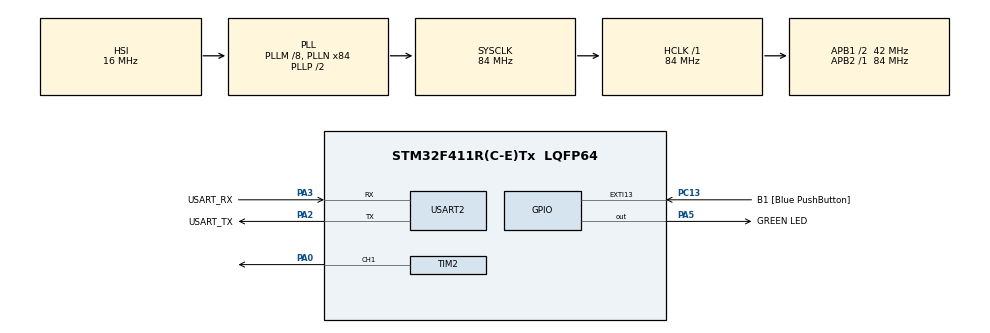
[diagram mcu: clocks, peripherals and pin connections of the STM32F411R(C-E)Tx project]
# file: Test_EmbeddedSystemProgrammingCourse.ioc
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Mcu.Family=STM32F4
Mcu.Name=STM32F411R(C-E)Tx
Mcu.Package=LQFP64
NVIC.PriorityGroup=NVIC_PRIORITYGROUP_0
PA0-WKUP.Signal=S_TIM2_CH1_ETR
PA13.GPIO_Label=TMS
PA13.Mode=Serial_Wire
PA13.Signal=SYS_JTMS-SWDIO
PA14.GPIO_Label=TCK
PA14.Mode=Serial_Wire
PA14.Signal=SYS_JTCK-SWCLK
PA2.GPIO_Label=USART_TX
PA2.Mode=Asynchronous
PA2.Signal=USART2_TX
PA3.GPIO_Label=USART_RX
PA3.Mode=Asynchronous
PA3.Signal=USART2_RX
PA5.GPIO_Label=GREEN LED
PA5.Signal=GPIO_Output
PB3.GPIO_Label=SWO
PB3.Signal=SYS_JTDO-SWO
PC13-ANTI_TAMP.GPIO_Label=B1 [Blue PushButton]
PC13-ANTI_TAMP.GPIO_ModeDefaultEXTI=GPIO_MODE_IT_FALLING
PC13-ANTI_TAMP.Signal=GPXTI13
PC14-OSC32_IN.Mode=LSE-External-Oscillator
PC14-OSC32_IN.Signal=RCC_OSC32_IN
PC15-OSC32_OUT.Mode=LSE-External-Oscillator
PC15-OSC32_OUT.Signal=RCC_OSC32_OUT
PH0\ -\ OSC_IN.Mode=HSE-External-Clock-Source
PH0\ -\ OSC_IN.Signal=RCC_OSC_IN
PH1\ -\ OSC_OUT.Mode=HSE-External-Clock-Source
PH1\ -\ OSC_OUT.Signal=RCC_OSC_OUT
ProjectManager.HeapSize=0x200
ProjectManager.StackSize=0x400
ProjectManager.TargetToolchain=STM32CubeIDE
RCC.48MHZClocksFreq_Value=42000000
RCC.AHBFreq_Value=84000000
RCC.APB1CLKDivider=RCC_HCLK_DIV2
RCC.APB1Freq_Value=42000000
RCC.APB1TimFreq_Value=84000000
RCC.APB2Freq_Value=84000000
RCC.APB2TimFreq_Value=84000000
RCC.CortexFreq_Value=84000000
RCC.FLatency-AdvancedSettings=FLASH_LATENCY_2
RCC.HCLKFreq_Value=84000000
RCC.HSE_VALUE=8000000
RCC.HSI_VALUE=16000000
RCC.PLLM=8
RCC.PLLN=84
RCC.SYSCLKFreq_VALUE=84000000
RCC.SYSCLKSource=RCC_SYSCLKSOURCE_PLLCLK
RCC.VCOOutputFreq_Value=168000000
SH.S_TIM2_CH1_ETR.0=TIM2_CH1,PWM Generation1 CH1
TIM1.Channel-Output\ Compare1\ No\ Output=TIM_CHANNEL_1
TIM1.ClockDivision=TIM_CLOCKDIVISION_DIV1
TIM1.Period=10000
TIM1.Prescaler=60000
TIM1.Pulse-Output\ Compare1\ No\ Output=5000
TIM1.TIM_MasterOutputTrigger=TIM_TRGO_RESET
TIM2.Channel-PWM\ Generation1\ CH1=TIM_CHANNEL_1
USART2.VirtualMode=VM_ASYNC
USART2.WordLength=WORDLENGTH_8B
VP_TIM1_VS_ClockSourceINT.Mode=Internal
VP_TIM1_VS_no_output1.Mode=Output Compare1 No Output
VP_TIM2_VS_ClockSourceINT.Mode=Internal
board=NUCLEO-F411RE

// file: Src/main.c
/* USER CODE BEGIN Header */
/**
  ******************************************************************************
  * @file           : main.c
  * @brief          : Main program body
  ******************************************************************************
  * @attention
  *
  * <h2><center>&copy; Copyright (c) 2019 STMicroelectronics.
  * All rights reserved.</center></h2>
  *
  * This software component is licensed by ST under BSD 3-Clause license,
  * the "License"; You may not use this file except in compliance with the
  * License. You may obtain a copy of the License at:
  *                        opensource.org/licenses/BSD-3-Clause
  *
  ******************************************************************************
  */
/* USER CODE END Header */

#include "main.h"

TIM_HandleTypeDef htim1;
TIM_HandleTypeDef htim2;

UART_HandleTypeDef huart2;

uint8_t OffsetPWM = 90;

void SystemClock_Config(void);
static void MX_GPIO_Init(void);
static void MX_USART2_UART_Init(void);
static void MX_TIM1_Init(void);
static void MX_TIM2_Init(void);

int main(void)
{
  /* USER CODE BEGIN 1 */
	GPIO_PinState buttonPressed=0;

  /* USER CODE END 1 */

  /* MCU Configuration--------------------------------------------------------*/

  /* Reset of all peripherals, Initializes the Flash interface and the Systick. */
  HAL_Init();

  /* Configure the system clock */
  SystemClock_Config();

  /* Initialize all configured peripherals */
  MX_GPIO_Init();
  MX_USART2_UART_Init();
  MX_TIM1_Init();
  MX_TIM2_Init();
  /* USER CODE BEGIN 2 */
  HAL_StatusTypeDef Timer;
  uint8_t pData = 0xFF;
  uint32_t counter = 0;
  /* USER CODE END 2 */

  /* Infinite loop */
  while (1)
  {

    /* USER CODE BEGIN 3 */
	  TIM2->CCR1 = 1500 + OffsetPWM;
	  buttonPressed =  HAL_GPIO_ReadPin(B1_GPIO_Port, B1_Pin);
	  if (buttonPressed == GPIO_PIN_RESET) {
		  Timer = HAL_TIM_OC_Start (&htim1, TIM_CHANNEL_1);
		  HAL_UART_Transmit(&huart2, &pData, 1, 0);
		  HAL_GPIO_WritePin(GREEN_LED_GPIO_Port, GREEN_LED_Pin, GPIO_PIN_SET);
		  HAL_TIM_PWM_Start(&htim2,TIM_CHANNEL_1);
		  counter = 300000;
	  }
	  else
	  {	  TIM2->CCR1 = 1500 + OffsetPWM;
	  counter = 0 ;
	  }

	  while(counter != 0){
	     TIM2->CCR1 = 2000 + OffsetPWM;
	     counter--;
	  }

	  //if (Timer == HAL_TIMEOUT){
	  if (htim1.Instance->CNT == htim1.Instance->CCR1 ){
		  HAL_GPIO_WritePin(GREEN_LED_GPIO_Port, GREEN_LED_Pin,GPIO_PIN_RESET);
	  }
  }
  /* USER CODE END 3 */
}

void SystemClock_Config(void)
{
  RCC_OscInitTypeDef RCC_OscInitStruct = {0};
  RCC_ClkInitTypeDef RCC_ClkInitStruct = {0};

  /** Configure the main internal regulator output voltage
  */
  __HAL_RCC_PWR_CLK_ENABLE();
  __HAL_PWR_VOLTAGESCALING_CONFIG(PWR_REGULATOR_VOLTAGE_SCALE1);
  /** Initializes the CPU, AHB and APB busses clocks
  */
  RCC_OscInitStruct.OscillatorType = RCC_OSCILLATORTYPE_HSI;
  RCC_OscInitStruct.HSIState = RCC_HSI_ON;
  RCC_OscInitStruct.HSICalibrationValue = RCC_HSICALIBRATION_DEFAULT;
  RCC_OscInitStruct.PLL.PLLState = RCC_PLL_ON;
  RCC_OscInitStruct.PLL.PLLSource = RCC_PLLSOURCE_HSI;
  RCC_OscInitStruct.PLL.PLLM = 8;
  RCC_OscInitStruct.PLL.PLLN = 84;
  RCC_OscInitStruct.PLL.PLLP = RCC_PLLP_DIV2;
  RCC_OscInitStruct.PLL.PLLQ = 4;
  if (HAL_RCC_OscConfig(&RCC_OscInitStruct) != HAL_OK)
  {
    Error_Handler();
  }
  /** Initializes the CPU, AHB and APB busses clocks
  */
  RCC_ClkInitStruct.ClockType = RCC_CLOCKTYPE_HCLK|RCC_CLOCKTYPE_SYSCLK
                              |RCC_CLOCKTYPE_PCLK1|RCC_CLOCKTYPE_PCLK2;
  RCC_ClkInitStruct.SYSCLKSource = RCC_SYSCLKSOURCE_PLLCLK;
  RCC_ClkInitStruct.AHBCLKDivider = RCC_SYSCLK_DIV1;
  RCC_ClkInitStruct.APB1CLKDivider = RCC_HCLK_DIV2;
  RCC_ClkInitStruct.APB2CLKDivider = RCC_HCLK_DIV1;

  if (HAL_RCC_ClockConfig(&RCC_ClkInitStruct, FLASH_LATENCY_2) != HAL_OK)
  {
    Error_Handler();
  }
}

static void MX_TIM1_Init(void)
{

  TIM_ClockConfigTypeDef sClockSourceConfig = {0};
  TIM_MasterConfigTypeDef sMasterConfig = {0};
  TIM_OC_InitTypeDef sConfigOC = {0};
  TIM_BreakDeadTimeConfigTypeDef sBreakDeadTimeConfig = {0};

  htim1.Instance = TIM1;
  htim1.Init.Prescaler = 60000;
  htim1.Init.CounterMode = TIM_COUNTERMODE_UP;
  htim1.Init.Period = 10000;
  htim1.Init.ClockDivision = TIM_CLOCKDIVISION_DIV1;
  htim1.Init.RepetitionCounter = 0;
  htim1.Init.AutoReloadPreload = TIM_AUTORELOAD_PRELOAD_DISABLE;
  if (HAL_TIM_Base_Init(&htim1) != HAL_OK)
  {
    Error_Handler();
  }
  sClockSourceConfig.ClockSource = TIM_CLOCKSOURCE_INTERNAL;
  if (HAL_TIM_ConfigClockSource(&htim1, &sClockSourceConfig) != HAL_OK)
  {
    Error_Handler();
  }
  if (HAL_TIM_OC_Init(&htim1) != HAL_OK)
  {
    Error_Handler();
  }
  sMasterConfig.MasterOutputTrigger = TIM_TRGO_RESET;
  sMasterConfig.MasterSlaveMode = TIM_MASTERSLAVEMODE_DISABLE;
  if (HAL_TIMEx_MasterConfigSynchronization(&htim1, &sMasterConfig) != HAL_OK)
  {
    Error_Handler();
  }
  sConfigOC.OCMode = TIM_OCMODE_TIMING;
  sConfigOC.Pulse = 5000;
  sConfigOC.OCPolarity = TIM_OCPOLARITY_HIGH;
  sConfigOC.OCNPolarity = TIM_OCNPOLARITY_HIGH;
  sConfigOC.OCFastMode = TIM_OCFAST_DISABLE;
  sConfigOC.OCIdleState = TIM_OCIDLESTATE_RESET;
  sConfigOC.OCNIdleState = TIM_OCNIDLESTATE_RESET;
  if (HAL_TIM_OC_ConfigChannel(&htim1, &sConfigOC, TIM_CHANNEL_1) != HAL_OK)
  {
    Error_Handler();
  }
  sBreakDeadTimeConfig.OffStateRunMode = TIM_OSSR_DISABLE;
  sBreakDeadTimeConfig.OffStateIDLEMode = TIM_OSSI_DISABLE;
  sBreakDeadTimeConfig.LockLevel = TIM_LOCKLEVEL_OFF;
  sBreakDeadTimeConfig.DeadTime = 0;
  sBreakDeadTimeConfig.BreakState = TIM_BREAK_DISABLE;
  sBreakDeadTimeConfig.BreakPolarity = TIM_BREAKPOLARITY_HIGH;
  sBreakDeadTimeConfig.AutomaticOutput = TIM_AUTOMATICOUTPUT_DISABLE;
  if (HAL_TIMEx_ConfigBreakDeadTime(&htim1, &sBreakDeadTimeConfig) != HAL_OK)
  {
    Error_Handler();
  }

}

static void MX_TIM2_Init(void)
{

  TIM_ClockConfigTypeDef sClockSourceConfig = {0};
  TIM_MasterConfigTypeDef sMasterConfig = {0};
  TIM_OC_InitTypeDef sConfigOC = {0};

  htim2.Instance = TIM2;
  htim2.Init.Prescaler = 83; //1
  htim2.Init.CounterMode = TIM_COUNTERMODE_UP;
  htim2.Init.Period = 20000; //840000
  htim2.Init.ClockDivision = TIM_CLOCKDIVISION_DIV1;
  htim2.Init.AutoReloadPreload = TIM_AUTORELOAD_PRELOAD_DISABLE;
  if (HAL_TIM_Base_Init(&htim2) != HAL_OK)
  {
    Error_Handler();
  }
  sClockSourceConfig.ClockSource = TIM_CLOCKSOURCE_INTERNAL;
  if (HAL_TIM_ConfigClockSource(&htim2, &sClockSourceConfig) != HAL_OK)
  {
    Error_Handler();
  }
  if (HAL_TIM_PWM_Init(&htim2) != HAL_OK)
  {
    Error_Handler();
  }
  sMasterConfig.MasterOutputTrigger = TIM_TRGO_RESET;
  sMasterConfig.MasterSlaveMode = TIM_MASTERSLAVEMODE_DISABLE;
  if (HAL_TIMEx_MasterConfigSynchronization(&htim2, &sMasterConfig) != HAL_OK)
  {
    Error_Handler();
  }
  sConfigOC.OCMode = TIM_OCMODE_PWM1;
  sConfigOC.Pulse = 1590;
  sConfigOC.OCPolarity = TIM_OCPOLARITY_HIGH;
  sConfigOC.OCFastMode = TIM_OCFAST_DISABLE;
  if (HAL_TIM_PWM_ConfigChannel(&htim2, &sConfigOC, TIM_CHANNEL_1) != HAL_OK)
  {
    Error_Handler();
  }
  HAL_TIM_MspPostInit(&htim2);

}

static void MX_USART2_UART_Init(void)
{

  huart2.Instance = USART2;
  huart2.Init.BaudRate = 115200;
  huart2.Init.WordLength = UART_WORDLENGTH_8B;
  huart2.Init.StopBits = UART_STOPBITS_1;
  huart2.Init.Parity = UART_PARITY_NONE;
  huart2.Init.Mode = UART_MODE_TX_RX;
  huart2.Init.HwFlowCtl = UART_HWCONTROL_NONE;
  huart2.Init.OverSampling = UART_OVERSAMPLING_16;
  if (HAL_UART_Init(&huart2) != HAL_OK)
  {
    Error_Handler();
  }

}

static void MX_GPIO_Init(void)
{
  GPIO_InitTypeDef GPIO_InitStruct = {0};

  /* GPIO Ports Clock Enable */
  __HAL_RCC_GPIOC_CLK_ENABLE();
  __HAL_RCC_GPIOH_CLK_ENABLE();
  __HAL_RCC_GPIOA_CLK_ENABLE();
  __HAL_RCC_GPIOB_CLK_ENABLE();

  /*Configure GPIO pin Output Level */
  HAL_GPIO_WritePin(GREEN_LED_GPIO_Port, GREEN_LED_Pin, GPIO_PIN_RESET);

  /*Configure GPIO pin : B1_Pin */
  GPIO_InitStruct.Pin = B1_Pin;
  GPIO_InitStruct.Mode = GPIO_MODE_IT_FALLING;
  GPIO_InitStruct.Pull = GPIO_NOPULL;
  HAL_GPIO_Init(B1_GPIO_Port, &GPIO_InitStruct);

  /*Configure GPIO pin : GREEN_LED_Pin */
  GPIO_InitStruct.Pin = GREEN_LED_Pin;
  GPIO_InitStruct.Mode = GPIO_MODE_OUTPUT_PP;
  GPIO_InitStruct.Pull = GPIO_NOPULL;
  GPIO_InitStruct.Speed = GPIO_SPEED_FREQ_LOW;
  HAL_GPIO_Init(GREEN_LED_GPIO_Port, &GPIO_InitStruct);

}

void Error_Handler(void)
{
}

/************************ (C) COPYRIGHT STMicroelectronics *****END OF FILE****/
